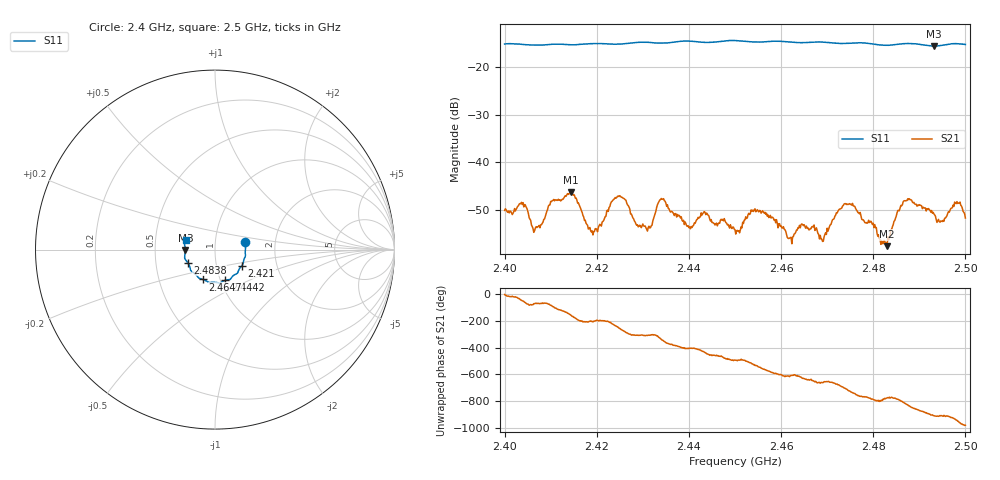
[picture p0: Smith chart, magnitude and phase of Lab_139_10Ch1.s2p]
# Hz S RI R 50
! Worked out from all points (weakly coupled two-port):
!   601 points, 2.4 GHz to 2.5 GHz, reference 50 ohm
!   highest |S21| = -46.21 dB at 2.4143 GHz (marker M1); lowest = -57.6 dB at 2.483 GHz (marker M2)
!   lowest |S11| = -15.6 dB at 2.4932 GHz (marker M3), VSWR 1.40, Z = 35.8 - j0.0967 ohm
!   |S11| at or under -10 dB: start of sweep to end of sweep
!   S12 and S22 are empty: the file has one direction only
!   S11 on the Smith chart (normalised r, x): 2.4 GHz: 1.40, +0.12; 2.421 GHz: 1.33, -0.24; 2.4442 GHz: 1.05, -0.37; 2.4647 GHz: 0.83, -0.29; 2.4838 GHz: 0.73, -0.11; 2.5 GHz: 0.72, +0.08
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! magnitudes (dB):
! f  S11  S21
! 2.4 GHz  -15.2  -50.1
! 2.4067 GHz  -15.4  -53.8
! 2.4143 GHz  -15.4  -46.2
! 2.4167 GHz  -15.3  -50.1
! 2.421 GHz  -15.1  -53.3
! 2.4245 GHz  -15.2  -47.1
! 2.4312 GHz  -14.9  -53.6
! 2.4333 GHz  -15.0  -48.5
! 2.4442 GHz  -14.9  -51.1
! 2.45 GHz  -14.5  -54.1
! 2.454 GHz  -14.8  -50.3
! 2.4618 GHz  -14.8  -55.9
! 2.4647 GHz  -14.9  -53.0
! 2.4667 GHz  -14.8  -53.5
! 2.4688 GHz  -14.8  -56.1
! 2.475 GHz  -15.1  -48.8
! 2.483 GHz  -15.5  -57.6
! 2.4833 GHz  -15.5  -56.2
! 2.4838 GHz  -15.4  -54.1
! 2.487 GHz  -15.1  -48.1
! 2.4932 GHz  -15.6  -50.8
! 2.5 GHz  -15.3  -51.7
